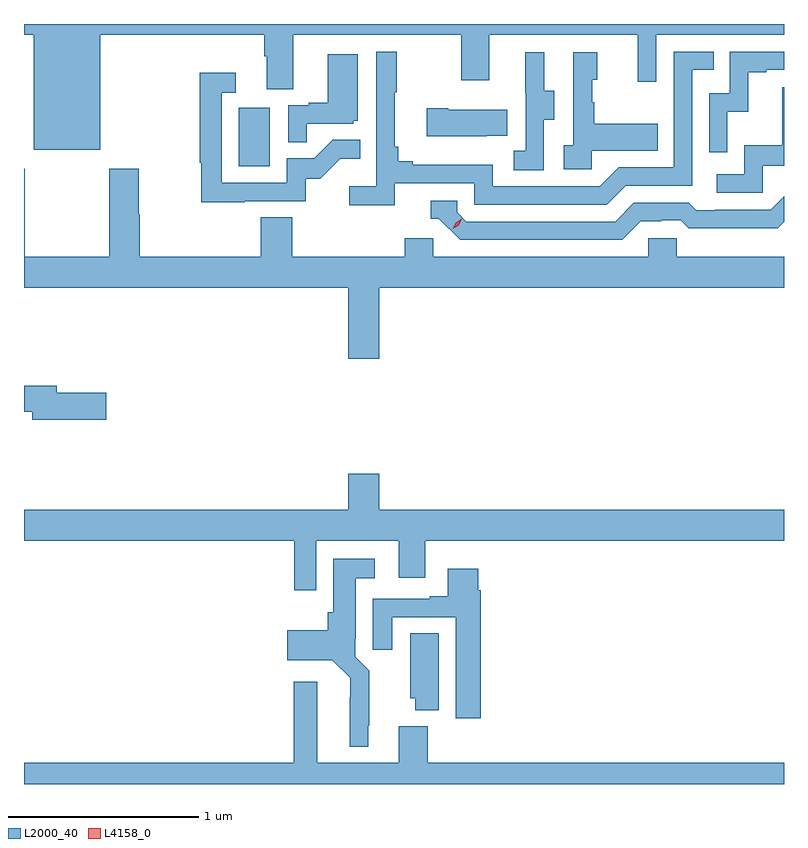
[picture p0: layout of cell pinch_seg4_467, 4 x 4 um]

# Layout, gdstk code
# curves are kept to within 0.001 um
import gdstk
lib = gdstk.Library(unit=1e-6, precision=1e-09)
def R(c, l, rs):  # rectangles x0, y0, x1, y1
    for r in rs: c.add(gdstk.rectangle(r[:2], r[2:], *l))
def P(c, l, *ps):  # polygons
    for p in ps: c.add(gdstk.Polygon(p, *l))
L2000_40 = (2000, 40)
L4158_0 = (4158, 0)

pinch_seg4_467 = lib.new_cell('pinch_seg4_467')
R(pinch_seg4_467, L2000_40, [(943.652,760.164,943.816,760.471)])
P(pinch_seg4_467, L2000_40, [(942.922,760.856),(943.787,760.856),(943.787,760.744),(943.799,760.744),(943.799,760.57),(943.939,760.57),(943.939,760.856),(944.824,760.856),(944.824,760.617),(944.971,760.617),(944.971,760.856),(945.752,760.856),(945.752,760.608),(945.849,760.608),(945.849,760.856),(946.522,760.856),(946.522,760.913),(942.522,760.913),(942.522,760.856),(942.572,760.856),(942.572,760.25),(942.922,760.25)],
  [(944.474,760.074),(944.892,760.074),(944.892,759.963),(945.589,759.963),(945.688,760.062),(946.038,760.062),(946.038,760.671),(946.151,760.671),(946.151,760.767),(945.942,760.767),(945.942,760.158),(945.651,760.158),(945.552,760.059),(944.988,760.059),(944.988,760.171),(944.569,760.171),(944.569,760.19),(944.492,760.19),(944.492,760.267),(944.473,760.267),(944.473,760.555),(944.485,760.555),(944.485,760.768),(944.376,760.768),(944.376,760.06),(944.235,760.06),(944.235,759.958),(944.474,759.958)],
  [(946.224,760.451),(946.334,760.451),(946.334,760.659),(946.429,760.659),(946.429,760.671),(946.522,760.671),(946.522,760.767),(946.236,760.767),(946.236,760.548),(946.128,760.548),(946.128,760.239),(946.224,760.239)],
  [(945.258,760.408),(945.313,760.408),(945.313,760.563),(945.259,760.563),(945.259,760.765),(945.161,760.765),(945.161,760.551),(945.162,760.551),(945.162,760.247),(945.099,760.247),(945.099,760.144),(945.258,760.144)],
  [(945.51,760.247),(945.857,760.247),(945.857,760.387),(945.523,760.387),(945.523,760.502),(945.513,760.502),(945.513,760.62),(945.538,760.62),(945.538,760.765),(945.414,760.765),(945.414,760.274),(945.363,760.274),(945.363,760.149),(945.51,760.149)],
  [(944.009,760.389),(944.256,760.389),(944.256,760.404),(944.278,760.404),(944.278,760.753),(944.12,760.753),(944.12,760.498),(944.021,760.498),(944.021,760.485),(943.914,760.485),(943.914,760.291),(944.009,760.291)],
  [(943.685,759.981),(944.004,759.981),(944.004,760.098),(944.08,760.098),(944.187,760.205),(944.291,760.205),(944.291,760.304),(944.147,760.304),(944.049,760.206),(943.905,760.206),(943.905,760.077),(943.563,760.077),(943.563,760.551),(943.636,760.551),(943.636,760.657),(943.447,760.657),(943.447,760.184),(943.455,760.184),(943.455,759.976),(943.685,759.976)],
  [(946.41,760.167),(946.522,760.167),(946.522,760.579),(946.513,760.579),(946.513,760.276),(946.314,760.276),(946.314,760.122),(946.167,760.122),(946.167,760.026),(946.41,760.026)],
  [(944.957,760.325),(945.065,760.325),(945.065,760.462),(944.755,760.462),(944.755,760.47),(944.643,760.47),(944.643,760.322),(944.957,760.322)],
  [(944.392,759.524),(946.522,759.524),(946.522,759.688),(945.957,759.688),(945.957,759.786),(945.807,759.786),(945.807,759.688),(944.676,759.688),(944.676,759.786),(944.525,759.786),(944.525,759.688),(943.934,759.688),(943.934,759.896),(943.769,759.896),(943.769,759.688),(943.13,759.688),(943.13,759.911),(943.125,759.911),(943.125,760.15),(942.97,760.15),(942.97,759.688),(942.525,759.688),(942.525,760.15),(942.522,760.15),(942.522,759.524),(944.228,759.524),(944.228,759.15),(944.392,759.15)],
  [(945.769,759.876),(945.876,759.876),(945.876,759.879),(945.979,759.879),(946.021,759.837),(946.254,759.837),(946.254,759.839),(946.49,759.839),(946.522,759.871),(946.522,760.006),(946.452,759.936),(946.159,759.936),(946.159,759.933),(946.06,759.933),(946.021,759.972),(945.732,759.972),(945.633,759.873),(944.85,759.873),(944.802,759.921),(944.802,759.984),(944.663,759.984),(944.663,759.888),(944.706,759.888),(944.817,759.777),(945.67,759.777)],
  [(942.955,758.972),(942.694,758.972),(942.694,759.008),(942.522,759.008),(942.522,758.872),(942.566,758.872),(942.566,758.83),(942.955,758.83)],
  [(944.061,758.192),(944.495,758.192),(944.495,757.998),(944.635,757.998),(944.635,758.192),(946.522,758.192),(946.522,758.356),(944.392,758.356),(944.392,758.545),(944.228,758.545),(944.228,758.356),(942.522,758.356),(942.522,758.192),(943.945,758.192),(943.945,757.932),(944.061,757.932)],
  [(944.335,757.219),(944.339,757.219),(944.339,757.51),(944.265,757.584),(944.265,757.678),(944.269,757.678),(944.269,757.997),(944.368,757.997),(944.368,758.098),(944.15,758.098),(944.15,757.818),(944.12,757.818),(944.12,757.723),(943.908,757.723),(943.908,757.565),(944.145,757.565),(944.238,757.472),(944.237,757.109),(944.335,757.109)],
  [(944.927,757.934),(944.914,757.934),(944.914,758.047),(944.753,758.047),(944.753,757.9),(944.657,757.9),(944.657,757.887),(944.357,757.887),(944.357,757.62),(944.461,757.62),(944.461,757.791),(944.795,757.791),(944.795,757.26),(944.927,757.26)],
  [(944.704,757.706),(944.555,757.706),(944.555,757.365),(944.582,757.365),(944.582,757.301),(944.704,757.301)],
  [(946.522,757.024),(944.648,757.024),(944.648,757.216),(944.495,757.216),(944.495,757.024),(944.065,757.024),(944.065,757.45),(943.943,757.45),(943.943,757.024),(942.522,757.024),(942.522,756.913),(946.522,756.913)])
P(pinch_seg4_467, L4158_0, [(944.779,759.835),(944.779,759.835),(944.795,759.868),(944.826,759.887),(944.826,759.887),(944.826,759.887),(944.81,759.854),(944.779,759.835)])

lib.write_gds('pinch_seg4_467.gds')
